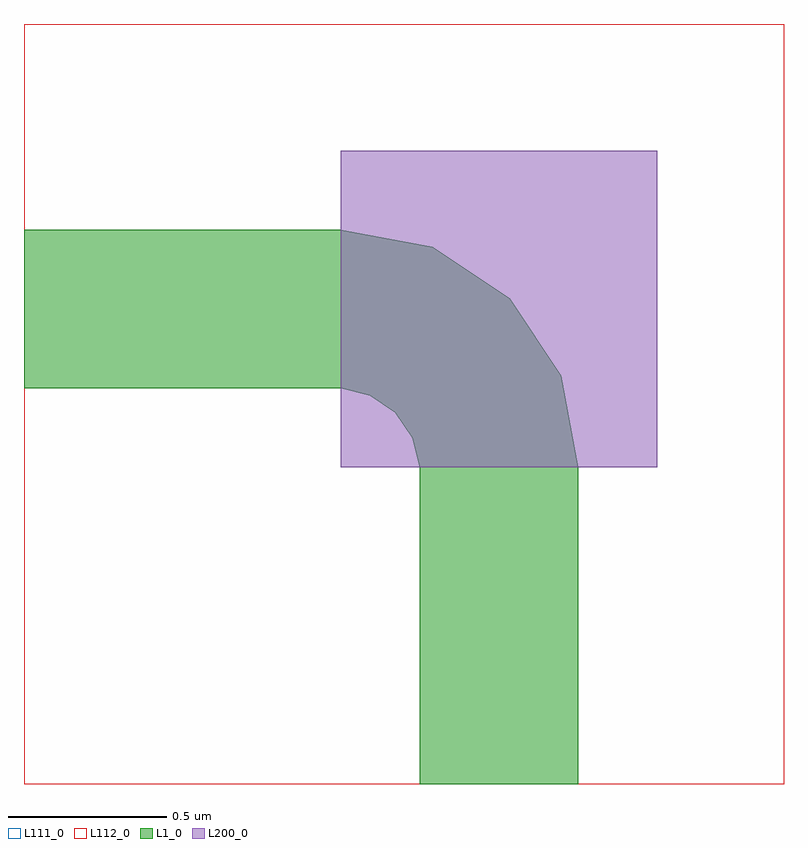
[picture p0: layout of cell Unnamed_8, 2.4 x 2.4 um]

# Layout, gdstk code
from math import pi, radians
import gdstk
lib = gdstk.Library(unit=1e-6, precision=1e-09)
def R(c, l, rs):  # rectangles x0, y0, x1, y1
    for r in rs: c.add(gdstk.rectangle(r[:2], r[2:], *l))
def P(c, l, *ps):  # polygons
    for p in ps: c.add(gdstk.Polygon(p, *l))
L1_0 = (1, 0)
L111_0 = (111, 0)
L112_0 = (112, 0)
L200_0 = (200, 0)

unnamed_5 = lib.new_cell('Unnamed_5')
R(unnamed_5, L1_0, [(0,-0.25,1,0.25)])

unnamed_6 = lib.new_cell('Unnamed_6')
R(unnamed_6, L1_0, [(0,-0.25,1,0.25)])

unnamed_7 = lib.new_cell('Unnamed_7')
P(unnamed_7, L1_0, [(0.25,0.5),(0.226,0.594),(0.173,0.673),(0.094,0.726),(0,0.75),(0,1.25),(0.289,1.197),(0.534,1.034),(0.697,0.789),(0.75,0.5)])

unnamed_0 = lib.new_cell('Unnamed_0')
R(unnamed_0, L200_0, [(0,0,1,1)])

bend = lib.new_cell('bend')
bend.add(gdstk.Reference(unnamed_5, (-1,0.5)))
bend.add(gdstk.Reference(unnamed_6, (0.5,-1), rotation=pi/2))
bend.add(gdstk.Reference(unnamed_7, (0,-0.5)))
bend.add(gdstk.Reference(unnamed_0, (0,0)))

unnamed_8 = lib.new_cell('Unnamed_8')
R(unnamed_8, L111_0, [(-1,-1,1.4,1.4)])
R(unnamed_8, L112_0, [(-1,-1,1.4,1.4)])
unnamed_8.add(gdstk.Reference(bend, (0,0)))

lib.write_gds('Unnamed_8.gds')
